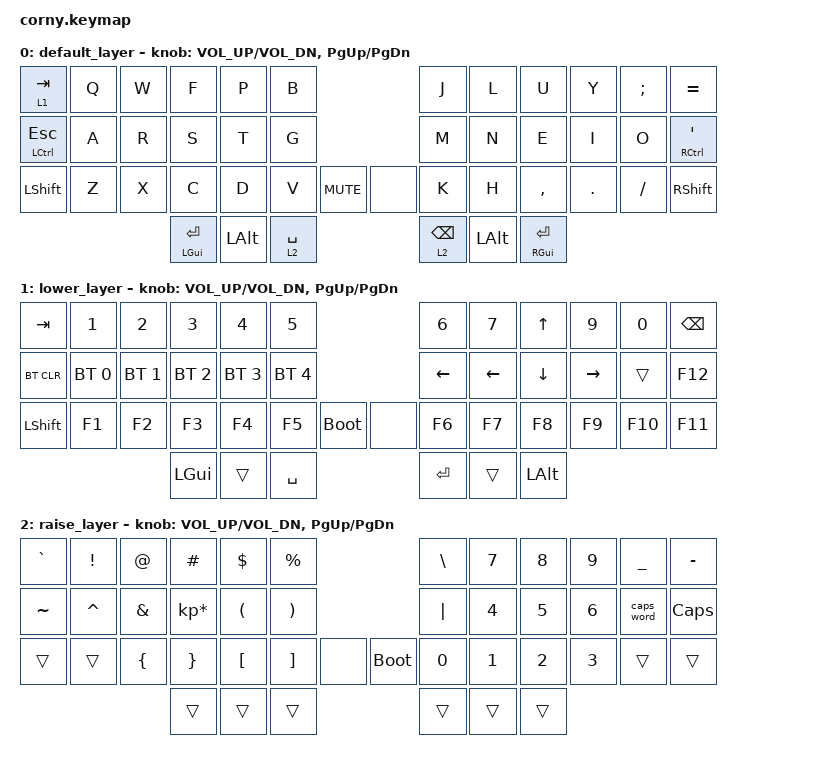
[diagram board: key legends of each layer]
#include <behaviors.dtsi>
#include <dt-bindings/zmk/keys.h>
#include <dt-bindings/zmk/bt.h>

/ {
        keymap {
                compatible = "zmk,keymap";

                default_layer {
// -------------------------------------------------------------------------------------------------
// | TAB/LWR |  Q  |  W  |  F  |  P  |  B  |                    |  J  |  L   |  U  |  Y  |  ;  | = |
// | CTRL/ESC|  A  |  R  |  S  |  T  |  G  |                    |  M  |  N   |  E  |  I  |  O  |  ' /CTRL |
// |   SHFT  |  Z  |  X  |  C  |  D  |  V  |  MUTE  |  |        |  K  |  H   |  ,  |  .  |  /  |  SHIFT |
//                      | GUI/ENT | ALT | SPC/RAISE |          | BSPC/RAISE | ALT  | GUI/ENT |
                        bindings = <
   &lt 1 TAB &kp Q &kp W &kp F &kp P &kp B                      &kp J &kp L  &kp U  &kp Y  &kp SEMI &kp EQUAL
   &mt LCTRL ESC &kp A &kp R &kp S &kp T &kp G                  &kp M &kp N  &kp E  &kp I  &kp O    &mt RCTL SQT
   &kp LSHFT &kp Z &kp X &kp C &kp D &kp V &kp C_MUTE  &none &kp K &kp H  &kp COMMA &kp DOT &kp FSLH &kp RSHIFT
                  &mt LGUI RET &kp LALT &lt 2 SPACE             &lt 2 BSPC &kp LALT &mt RGUI RET
                        >;

                        sensor-bindings = <&inc_dec_kp C_VOL_UP C_VOL_DN &inc_dec_kp PG_UP PG_DN>;
                };
                lower_layer {
// ------------------------------------------------------------------------------------------------
// |  TAB |  1  |  2  |  3  |  4  |  5  |                    |  6  |  7  |  UP  |  9  |  0  | BKSP |
// | BTCLR| BT1 | BT2 | BT3 | BT4 | BT5 |                    |     | LFT | DWN  | RGT |     |  F12 |
// | SHFT | F1  | F2  | F3  | F4  | F5  |  boot  |  |        |  F6 | F7  | F8  | F9  | F10 |  F11 |
//                    | GUI |     | SPC |                    | ENT |     | ALT |
                        bindings = <
   &kp TAB    &kp N1       &kp N2       &kp N3       &kp N4       &kp N5                           &kp N6   &kp N7   &kp UP &kp N9    &kp N0  &kp BSPC
   &bt BT_CLR &bt BT_SEL 0 &bt BT_SEL 1 &bt BT_SEL 2 &bt BT_SEL 3 &bt BT_SEL 4                     &kp LEFT &kp LEFT &kp DOWN &kp RIGHT &trans  &kp F12
   &kp LSHFT  &kp F1       &kp F2       &kp F3       &kp F4       &kp F5       &bootloader  &none  &kp F6   &kp F7   &kp F8 &kp F9    &kp F10 &kp F11
                                    &kp LGUI     &trans       &kp SPACE                            &kp RET  &trans   &kp LALT
                        >;

                        sensor-bindings = <&inc_dec_kp C_VOL_UP C_VOL_DN &inc_dec_kp PG_UP PG_DN>;
                };

                raise_layer {
// ------------------------------------------------------------------------------------------------
// | ` |  !  |  @  |  #  |  $  |  %  |                       |  \  | 7  |  8  |  9  |  _  | -  |
// | ~ |  ^  |  &  |  *  |  (  |  )  |                       | "|" | 4  |  5  |  6  | CAPS WORD  | CAPS   |
// |   |     | {   |  }  |  [  |  ]  |     |        |  boot  | 0   | 1  |  2  |  3  |     |    |
//                    |  |     |  |                    |  |     |  |
                        bindings = <
   &kp GRAVE &kp EXCL  &kp AT &kp HASH &kp DLLR &kp PRCNT                &kp BSLH &kp N7  &kp N8 &kp N9 &kp UNDER &kp MINUS
   &kp TILDE &kp CARET &kp AMPS  &kp KP_MULTIPLY &kp LPAR &kp RPAR       &kp PIPE &kp N4  &kp N5 &kp N6 &caps_word &kp CAPS
   &trans &trans &kp LBRC &kp RBRC &kp LBKT &kp RBKT &none  &bootloader  &kp N0  &kp N1 &kp N2 &kp N3  &trans  &trans
                             &trans &trans &trans                    &trans &trans &trans
                        >;

                        sensor-bindings = <&inc_dec_kp C_VOL_UP C_VOL_DN &inc_dec_kp PG_UP PG_DN>;
                };
        };
};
